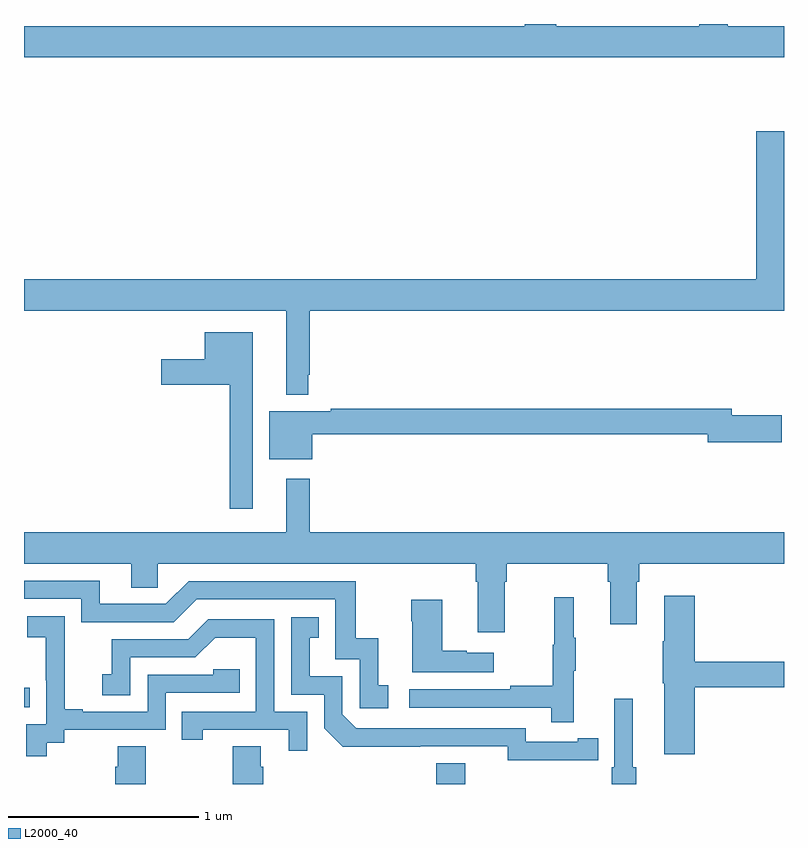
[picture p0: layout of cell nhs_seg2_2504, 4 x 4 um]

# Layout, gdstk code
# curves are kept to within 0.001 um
import gdstk
lib = gdstk.Library(unit=1e-6, precision=1e-09)
def R(c, l, rs):  # rectangles x0, y0, x1, y1
    for r in rs: c.add(gdstk.rectangle(r[:2], r[2:], *l))
def P(c, l, *ps):  # polygons
    for p in ps: c.add(gdstk.Polygon(p, *l))
L2000_40 = (2000, 40)

nhs_seg2_2504 = lib.new_cell('nhs_seg2_2504')
R(nhs_seg2_2504, L2000_40, [(243.17,655.8,243.322,655.909), (241,656.205,241.031,656.306)])
P(nhs_seg2_2504, L2000_40, [(245,659.788),(244.705,659.788),(244.705,659.8),(244.553,659.8),(244.553,659.788),(243.8,659.788),(243.8,659.8),(243.635,659.8),(243.635,659.788),(241,659.788),(241,659.624),(245,659.624)],
  [(242.496,657.955),(242.503,657.955),(242.503,658.292),(245,658.292),(245,659.236),(244.853,659.236),(244.853,658.456),(241,658.456),(241,658.292),(242.381,658.292),(242.381,657.848),(242.496,657.848)],
  [(242.203,658.177),(241.952,658.177),(241.952,658.036),(241.722,658.036),(241.722,657.902),(242.082,657.902),(242.082,657.249),(242.203,657.249)],
  [(242.518,657.64),(244.598,657.64),(244.598,657.598),(244.987,657.598),(244.987,657.74),(244.726,657.74),(244.726,657.776),(242.614,657.776),(242.614,657.763),(242.291,657.763),(242.291,657.509),(242.518,657.509)],
  [(243.529,656.864),(243.542,656.864),(243.542,656.96),(244.073,656.96),(244.073,656.864),(244.085,656.864),(244.085,656.64),(244.225,656.64),(244.225,656.864),(244.238,656.864),(244.238,656.96),(245,656.96),(245,657.124),(242.503,657.124),(242.503,657.406),(242.381,657.406),(242.381,657.124),(241,657.124),(241,656.96),(241.565,656.96),(241.565,656.833),(241.704,656.833),(241.704,656.96),(243.377,656.96),(243.377,656.864),(243.389,656.864),(243.389,656.598),(243.529,656.598)],
  [(242.917,656.319),(242.864,656.319),(242.864,656.566),(242.746,656.566),(242.746,656.868),(241.866,656.868),(241.746,656.748),(241.399,656.748),(241.399,656.871),(241,656.871),(241,656.775),(241.302,656.775),(241.302,656.652),(241.788,656.652),(241.908,656.772),(242.637,656.772),(242.637,656.457),(242.766,656.457),(242.766,656.199),(242.917,656.199)],
  [(244.529,656.308),(245,656.308),(245,656.444),(244.529,656.444),(244.529,656.791),(244.37,656.791),(244.37,656.552),(244.363,656.552),(244.363,656.331),(244.37,656.331),(244.37,655.956),(244.529,655.956)],
  [(243.893,656.395),(243.904,656.395),(243.904,656.569),(243.893,656.569),(243.893,656.782),(243.79,656.782),(243.79,656.532),(243.783,656.532),(243.783,656.318),(243.559,656.318),(243.559,656.298),(243.027,656.298),(243.027,656.202),(243.775,656.202),(243.775,656.124),(243.893,656.124)],
  [(243.472,656.491),(243.329,656.491),(243.329,656.501),(243.202,656.501),(243.202,656.77),(243.037,656.77),(243.037,656.657),(243.044,656.657),(243.044,656.387),(243.472,656.387)],
  [(241.12,656.017),(241.212,656.017),(241.212,656.085),(241.746,656.085),(241.746,656.28),(242.135,656.28),(242.135,656.403),(241.995,656.403),(241.995,656.376),(241.65,656.376),(241.65,656.181),(241.309,656.181),(241.309,656.194),(241.214,656.194),(241.214,656.477),(241.215,656.477),(241.215,656.683),(241.017,656.683),(241.017,656.573),(241.115,656.573),(241.115,656.345),(241.116,656.345),(241.116,656.115),(241.011,656.115),(241.011,655.947),(241.12,655.947)],
  [(243.914,655.926),(244.022,655.926),(244.022,656.042),(243.914,656.042),(243.914,656.022),(243.642,656.022),(243.642,656.094),(242.748,656.094),(242.676,656.166),(242.676,656.367),(242.503,656.367),(242.503,656.571),(242.552,656.571),(242.552,656.677),(242.406,656.677),(242.406,656.271),(242.58,656.271),(242.58,656.094),(242.678,655.997),(243.546,655.998),(243.546,655.925)],
  [(242.49,656.181),(242.316,656.181),(242.316,656.667),(241.97,656.667),(241.865,656.562),(241.462,656.562),(241.462,656.377),(241.413,656.377),(241.413,656.268),(241.56,656.268),(241.56,656.466),(241.902,656.466),(242.006,656.57),(242.22,656.57),(242.22,656.181),(241.831,656.181),(241.831,656.034),(241.942,656.034),(241.942,656.085),(242.393,656.085),(242.393,655.974),(242.49,655.974)],
  [(244.223,655.888),(244.204,655.888),(244.204,656.248),(244.107,656.248),(244.107,655.888),(244.094,655.888),(244.094,655.8),(244.223,655.8)],
  [(241.641,656),(241.493,656),(241.493,655.89),(241.481,655.89),(241.481,655.8),(241.641,655.8)],
  [(242.258,655.89),(242.245,655.89),(242.245,656),(242.098,656),(242.098,655.8),(242.258,655.8)])

lib.write_gds('nhs_seg2_2504.gds')
